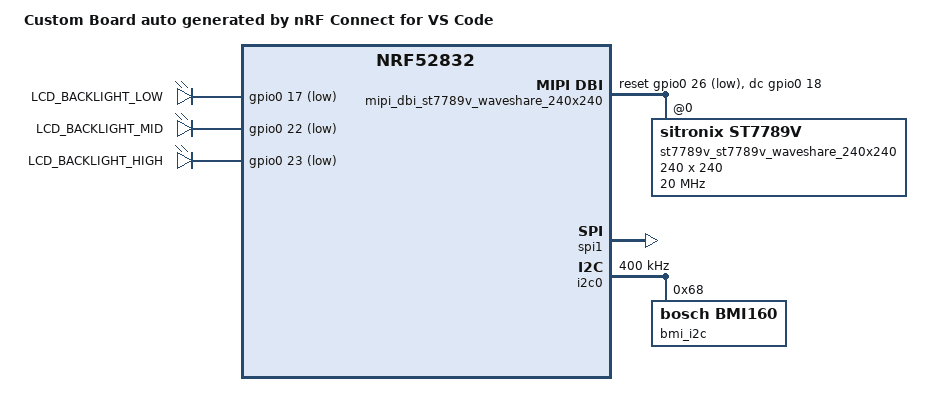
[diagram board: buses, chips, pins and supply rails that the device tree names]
/dts-v1/;
#include <nordic/nrf52832_qfaa.dtsi>
#include "PineTime_SmartWatch-pinctrl.dtsi"
#include <zephyr/dt-bindings/input/input-event-codes.h>
#include <zephyr/dt-bindings/mipi_dbi/mipi_dbi.h>

/ {
	model = "Custom Board auto generated by nRF Connect for VS Code";
	compatible = "pine64,PineTime-SmartWatch";

	chosen {
		zephyr,sram = &sram0;
		zephyr,flash = &flash0;
		zephyr,code-partition = &slot0_partition;
		zephyr,display = &st7789v_st7789v_waveshare_240x240;
	};
	backlight {
        compatible = "gpio-leds";

        backlight_low: backlight_low {
            gpios = <&gpio0 17 GPIO_ACTIVE_LOW>;
            label = "LCD_BACKLIGHT_LOW";
        };

        backlight_mid: backlight_mid {
            gpios = <&gpio0 22 GPIO_ACTIVE_LOW>;
            label = "LCD_BACKLIGHT_MID";
        };

        backlight_high: backlight_high {
            gpios = <&gpio0 23 GPIO_ACTIVE_LOW>;
            label = "LCD_BACKLIGHT_HIGH";
        };
    };
	    aliases {
        backlightlow  = &backlight_low;
        backlightmid  = &backlight_mid;
        backlighthigh = &backlight_high;
		accel0 = &bmi_i2c;
    };

	mipi_dbi_st7789v_waveshare_240x240 {
		compatible = "zephyr,mipi-dbi-spi";
		spi-dev = <&spi1>;
		dc-gpios = <&gpio0 18 GPIO_ACTIVE_HIGH>;	/* LCD_RS (P0.18) */
		reset-gpios = <&gpio0 26 GPIO_ACTIVE_LOW>;	/* LCD_RESET (P0.26) */
		write-only;
		#address-cells = <1>;
		#size-cells = <0>;
		st7789v_st7789v_waveshare_240x240: st7789v@0 {
			compatible = "sitronix,st7789v";
			mipi-max-frequency = <20000000>;
			reg = <0>;
			width = <240>;
			height = <240>;
			x-offset = <0>;
			y-offset = <0>;
			vcom = <0x19>;
			gctrl = <0x35>;
			vrhs = <0x12>;
			vdvs = <0x20>;
			mdac = <0x00>;
			gamma = <0x01>;
			colmod = <0x05>;
			lcm = <0x2c>;
			porch-param = [0c 0c 00 33 33];
			cmd2en-param = [5a 69 02 01];
			pwctrl1-param = [a4 a1];
			pvgam-param = [D0 04 0D 11 13 2B 3F 54 4C 18 0D 0B 1F 23];
			nvgam-param = [D0 04 0C 11 13 2C 3F 44 51 2F 1F 1F 20 23];
			ram-param = [00 F0];
			rgb-param = [CD 08 14];
			mipi-mode = "MIPI_DBI_MODE_SPI_4WIRE";

		};
	};
};

&flash0 {
	partitions {
		compatible = "fixed-partitions";
		#address-cells = <1>;
		#size-cells = <1>;

		boot_partition: partition@0 {
			label = "mcuboot";
			reg = <0x00000000 DT_SIZE_K(48)>;
		};

		slot0_partition: partition@c000 {
			label = "image-0";
			reg = <0x0000c000 DT_SIZE_K(464)>;
		};

		// slot1_partition: partition@43000 {
		// 	label = "image-1";
		// 	reg = <0x00043000 DT_SIZE_K(220)>;
		// };

		storage_partition: partition@7a000 {
			label = "storage";
			reg = <0x0007a000 DT_SIZE_K(4)>;
		};
	};
};

&spi1 {
	status = "okay";
	cs-gpios = <&gpio0 25 GPIO_ACTIVE_LOW>;	/* LCD_CS (P0.25) */
	pinctrl-0 = < &spi1_default >; 
	pinctrl-1 = < &spi1_sleep >;  
	pinctrl-names = "default", "sleep";
	
};




&gpio0 {
    status = "okay";
};
&gpiote {
	status = "okay";
   };  
&spi0 {
    status = "disabled";
};
&spi1 {
    status = "okay";
};

&i2c0 {
	status = "okay";
	clock-frequency = <I2C_BITRATE_FAST>;
	pinctrl-0 = <&i2c0_default>;
	pinctrl-1 = <&i2c0_sleep>;
	pinctrl-names = "default", "sleep";
	bmi_i2c: bmi@68 {
		compatible = "bosch,bmi160";
		reg = <0x68>;
		status = "okay";
	};
};


&uart0 {
    status = "disabled";
    current-speed = <115200>;
    pinctrl-0 = <&uart0_default>;
    pinctrl-1 = <&uart0_sleep>;
    pinctrl-names = "default", "sleep";
};
